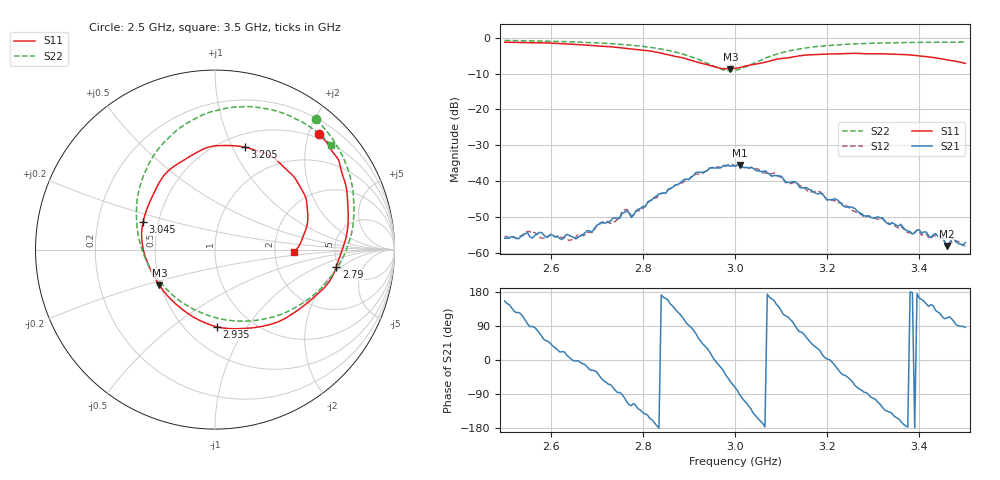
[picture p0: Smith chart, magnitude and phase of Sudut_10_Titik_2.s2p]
# Hz S RI R 50
! CMT, C1220, 16058040, 17.2.0/1
! Date: 15/08/2018 10:47:38
! Data: Format (Calibration Info)
! Freq  S11: Re/Im (F2)  S21: Re/Im (F2)  S12: Re/Im (F2)  S22: Re/Im (F2)
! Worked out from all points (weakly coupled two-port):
!   201 points, 2.5 GHz to 3.5 GHz, reference 50 ohm
!   highest |S21| = -35.53 dB at 3.01 GHz (marker M1); lowest = -58.2 dB at 3.46 GHz (marker M2)
!   lowest |S11| = -8.7 dB at 2.99 GHz (marker M3), VSWR 2.16, Z = 24.6 - j11.3 ohm
!   |S11| at or under -10 dB: nowhere
!   |S22| runs from -9.2 to -0.7 dB; largest |S21 - S12| = 0.0011
!   S11 on the Smith chart (normalised r, x): 2.5 GHz: 0.42, +2.18; 2.79 GHz: 4.68, -1.68; 2.935 GHz: 0.70, -0.74; 3.045 GHz: 0.41, +0.15; 3.205 GHz: 0.64, +1.12; 3.5 GHz: 2.56, -0.09
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2.5e9  0.5816 0.644  -0.00144 0.000655  -0.00152 0.000674  0.5634 0.7251
2.55e9  0.6377 0.5702  -0.000158 0.00188  -0.000352 0.00195  0.6194 0.6642
2.67e9  0.7366 0.3028  0.00177 -0.000306  0.00167 -0.0004  0.7382 0.4542
2.74e9  0.7344 0.0882  0.000537 -0.00298  0.000649 -0.00263  0.7726 0.2728
2.76e9  0.7147 0.0159  -0.000615 -0.00357  -0.000657 -0.00388  0.7742 0.2127
2.775e9  0.6971 -0.0351  -0.00156 -0.00266  -0.00175 -0.00277  0.7713 0.1613
2.79e9  0.6761 -0.096  -0.00252 -0.00314  -0.00254 -0.00288  0.7646 0.109
2.835e9  0.5659 -0.2526  -0.00656 -6.81e-06  -0.00633 -0.00017  0.7014 -0.0662
2.885e9  0.3323 -0.4092  -0.00411 0.00905  -0.00375 0.00863  0.5357 -0.264
2.935e9  0.0106 -0.4302  0.0108 0.00807  0.0105 0.00856  0.2247 -0.3944
2.99e9  -0.3096 -0.1982  0.0088 -0.0135  0.00954 -0.014  -0.2119 -0.2749
3e9  -0.3475 -0.1368  0.00495 -0.0154  0.00411 -0.0157  -0.277 -0.2133
3.01e9  -0.3774 -0.0696  -0.000348 -0.0167  -0.000187 -0.0159  -0.3352 -0.1441
3.045e9  -0.4008 0.1531  -0.0119 -0.00755  -0.0124 -0.00822  -0.4351 0.1324
3.1e9  -0.2474 0.4498  -0.00754 0.00892  -0.00689 0.00895  -0.3532 0.5057
3.17e9  0.0357 0.5796  0.00546 0.00438  0.00518 0.00478  -0.0896 0.7409
3.205e9  0.1677 0.5702  0.00548 0.000112  0.00557 -0.000236  0.0386 0.7825
3.335e9  0.4663 0.364  -0.00182 -0.00166  -0.00191 -0.00159  0.3919 0.7553
3.435e9  0.5099 0.1255  -0.00121 0.00138  -0.0011 0.00131  0.563 0.6586
3.46e9  0.488 0.0649  -0.000434 0.00116  -0.000415 0.00115  0.5977 0.6315
3.475e9  0.4738 0.0314  -0.000324 0.00155  -0.000329 0.00143  0.6151 0.6141
3.5e9  0.4388 -0.0145  9.02e-05 0.00138  0.000149 0.00122  0.6447 0.5842
